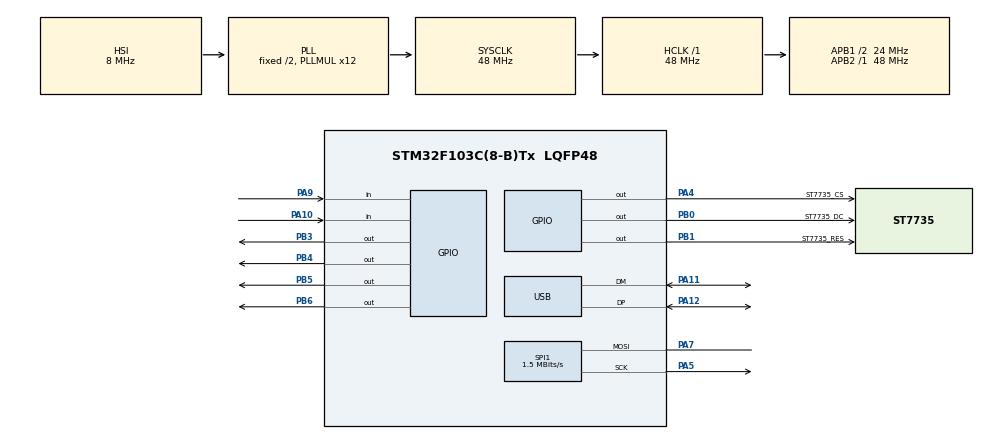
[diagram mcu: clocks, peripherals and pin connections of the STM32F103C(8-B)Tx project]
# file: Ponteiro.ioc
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Mcu.Family=STM32F1
Mcu.Name=STM32F103C(8-B)Tx
Mcu.Package=LQFP48
NVIC.PriorityGroup=NVIC_PRIORITYGROUP_4
NVIC.USB_LP_CAN1_RX0_IRQn=true\:0\:0\:false\:false\:true\:false\:true
PA10.GPIO_PuPd=GPIO_PULLUP
PA10.Signal=GPIO_Input
PA11.Mode=Device
PA11.Signal=USB_DM
PA12.Mode=Device
PA12.Signal=USB_DP
PA13.Mode=Serial_Wire
PA13.Signal=SYS_JTMS-SWDIO
PA14.Mode=Serial_Wire
PA14.Signal=SYS_JTCK-SWCLK
PA4.GPIO_Label=ST7735_CS
PA4.Signal=GPIO_Output
PA5.Mode=Simplex_Bidirectional_Master
PA5.Signal=SPI1_SCK
PA7.Mode=Simplex_Bidirectional_Master
PA7.Signal=SPI1_MOSI
PA9.GPIO_PuPd=GPIO_PULLUP
PA9.Signal=GPIO_Input
PB0.GPIO_Label=ST7735_DC
PB0.Signal=GPIO_Output
PB1.GPIO_Label=ST7735_RES
PB1.Signal=GPIO_Output
PB3.Signal=GPIO_Output
PB4.Signal=GPIO_Output
PB5.Signal=GPIO_Output
PB6.Signal=GPIO_Output
ProjectManager.HeapSize=0x200
ProjectManager.StackSize=0x400
ProjectManager.TargetToolchain=STM32CubeIDE
RCC.AHBFreq_Value=48000000
RCC.APB1CLKDivider=RCC_HCLK_DIV2
RCC.APB1Freq_Value=24000000
RCC.APB1TimFreq_Value=48000000
RCC.APB2Freq_Value=48000000
RCC.APB2TimFreq_Value=48000000
RCC.HCLKFreq_Value=48000000
RCC.PLLMUL=RCC_PLL_MUL12
RCC.PLLSourceVirtualString=RCC_PLLSOURCE_HSI_DIV2
RCC.SYSCLKFreq_VALUE=48000000
RCC.SYSCLKSource=RCC_SYSCLKSOURCE_PLLCLK
RCC.USBFreq_Value=48000000
SPI1.BaudRatePrescaler=SPI_BAUDRATEPRESCALER_32
SPI1.CLKPolarity=SPI_POLARITY_LOW
SPI1.CalculateBaudRate=1.5 MBits/s
SPI1.Direction=SPI_DIRECTION_1LINE
SPI1.Mode=SPI_MODE_MASTER
SPI1.VirtualType=VM_MASTER
USB_DEVICE.CLASS_NAME_FS=CDC
USB_DEVICE.VirtualMode=Cdc
USB_DEVICE.VirtualModeFS=Cdc_FS
VP_USB_DEVICE_VS_USB_DEVICE_CDC_FS.Mode=CDC_FS
board=custom

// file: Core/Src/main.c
/* USER CODE BEGIN Header */
/**
  ******************************************************************************
  * @file           : main.c
  * @brief          : Main program body
  ******************************************************************************
  * @attention
  *
  * <h2><center>&copy; Copyright (c) 2024 STMicroelectronics.
  * All rights reserved.</center></h2>
  *
  * This software component is licensed by ST under BSD 3-Clause license,
  * the "License"; You may not use this file except in compliance with the
  * License. You may obtain a copy of the License at:
  *                        opensource.org/licenses/BSD-3-Clause
  *
  ******************************************************************************
  */
/* USER CODE END Header */
#include "main.h"
#include "stdint.h"
#include "usb_device.h"
#include "usbd_cdc_if.h"

/* USER CODE BEGIN Includes */
#include "ST7735/st7735.h"
/* USER CODE END Includes */

/* USER CODE BEGIN PD */
#define GREY 0x8080
/* USER CODE END PD */

SPI_HandleTypeDef hspi1;

/* USER CODE BEGIN PV */
char Recived;
uint8_t Received;
char nome[30];

typedef struct Retangulo
{
	uint8_t x;
	uint8_t y;
	uint8_t w;
	uint8_t h;
	uint16_t color;

}Retangulo;

typedef struct Bandeira
{
	uint8_t draw;

	Retangulo rec1;
	Retangulo rec2;
	Retangulo rec3;
	Retangulo rec4;

}Bandeira;

Bandeira Japao;
Bandeira Italia;
Bandeira Alemanha;

void DrawFlag(Bandeira *pais);
/* USER CODE END PV */

void SystemClock_Config(void);
static void MX_GPIO_Init(void);
static void MX_SPI1_Init(void);

int main(void)
{

  /* MCU Configuration--------------------------------------------------------*/

  /* Reset of all peripherals, Initializes the Flash interface and the Systick. */
  HAL_Init();

  /* Configure the system clock */
  SystemClock_Config();

  /* Initialize all configured peripherals */
  MX_GPIO_Init();
  MX_SPI1_Init();
  MX_USB_DEVICE_Init();
  /* USER CODE BEGIN 2 */

#ifdef ST7735
  ST7735_Init();
#elif ST7789
  ST7789_Init();
#endif

  Japao.draw = 0;
  Japao.rec1.x = 43; Japao.rec1.y = 5; Japao.rec1.w = 70; Japao.rec1.h = 40; Japao.rec1.color = WHITE;
  Japao.rec2.x = 67; Japao.rec2.y = 20; Japao.rec2.w = 22; Japao.rec2.h = 10; Japao.rec2.color = RED;
  Japao.rec3.x = 71; Japao.rec3.y = 15; Japao.rec3.w = 14; Japao.rec3.h = 20; Japao.rec3.color = RED;
  Japao.rec4.x = 69; Japao.rec4.y = 17; Japao.rec4.w = 18; Japao.rec4.h = 16; Japao.rec4.color = RED;

  Italia.draw = 0;
  Italia.rec1.x = 43; Italia.rec1.y = 5; Italia.rec1.w = 70; Italia.rec1.h = 40; Italia.rec1.color = WHITE;
  Italia.rec2.x = 43; Italia.rec2.y = 5; Italia.rec2.w = 23; Italia.rec2.h = 40; Italia.rec2.color = GREEN;
  Italia.rec3.x = 90; Italia.rec3.y = 5; Italia.rec3.w = 23; Italia.rec3.h = 40; Italia.rec3.color = RED;
  Italia.rec4.x = 0; Italia.rec4.y = 0; Italia.rec4.w = 0; Italia.rec4.h = 0; Italia.rec4.color = BLACK;

  Alemanha.draw = 0;
  Alemanha.rec1.x = 43; Alemanha.rec1.y = 5; Alemanha.rec1.w = 70; Alemanha.rec1.h = 13; Alemanha.rec1.color = BLACK;
  Alemanha.rec2.x = 43; Alemanha.rec2.y = 17; Alemanha.rec2.w = 70; Alemanha.rec2.h = 13; Alemanha.rec2.color = RED;
  Alemanha.rec3.x = 43; Alemanha.rec3.y = 29; Alemanha.rec3.w = 70; Alemanha.rec3.h = 13; Alemanha.rec3.color = YELLOW;
  Alemanha.rec4.x = 0; Alemanha.rec4.y = 0; Alemanha.rec4.w = 0; Alemanha.rec4.h = 0; Alemanha.rec4.color = BLACK;

  Bandeira bandeiras[3] = {Japao,Italia,Alemanha};
  ST7735_FillScreen(BLACK);
  /* USER CODE END 2 */

  /* Infinite loop */
  /* USER CODE BEGIN WHILE */
  while (1)
  {
	  if(Received){
		  ST7735_FillScreen(GREY);
		  ST7735_WriteString(10, 50, nome, Font_7x10 , WHITE, GREY);

		  if (strcmp(nome, "Oda") == 0) DrawFlag(&bandeiras[0]);
		  if (strcmp(nome, "Mario") == 0) DrawFlag(&bandeiras[1]);
		  if (strcmp(nome, "Enzo") == 0) DrawFlag(&bandeiras[2]);

		  Received = 0;
		  HAL_Delay(1000);
	  }
    /* USER CODE END WHILE */

  }
}

void SystemClock_Config(void)
{
  RCC_OscInitTypeDef RCC_OscInitStruct = {0};
  RCC_ClkInitTypeDef RCC_ClkInitStruct = {0};
  RCC_PeriphCLKInitTypeDef PeriphClkInit = {0};

  /** Initializes the RCC Oscillators according to the specified parameters
  * in the RCC_OscInitTypeDef structure.
  */
  RCC_OscInitStruct.OscillatorType = RCC_OSCILLATORTYPE_HSI;
  RCC_OscInitStruct.HSIState = RCC_HSI_ON;
  RCC_OscInitStruct.HSICalibrationValue = RCC_HSICALIBRATION_DEFAULT;
  RCC_OscInitStruct.PLL.PLLState = RCC_PLL_ON;
  RCC_OscInitStruct.PLL.PLLSource = RCC_PLLSOURCE_HSI_DIV2;
  RCC_OscInitStruct.PLL.PLLMUL = RCC_PLL_MUL12;
  if (HAL_RCC_OscConfig(&RCC_OscInitStruct) != HAL_OK)
  {
    Error_Handler();
  }
  /** Initializes the CPU, AHB and APB buses clocks
  */
  RCC_ClkInitStruct.ClockType = RCC_CLOCKTYPE_HCLK|RCC_CLOCKTYPE_SYSCLK
                              |RCC_CLOCKTYPE_PCLK1|RCC_CLOCKTYPE_PCLK2;
  RCC_ClkInitStruct.SYSCLKSource = RCC_SYSCLKSOURCE_PLLCLK;
  RCC_ClkInitStruct.AHBCLKDivider = RCC_SYSCLK_DIV1;
  RCC_ClkInitStruct.APB1CLKDivider = RCC_HCLK_DIV2;
  RCC_ClkInitStruct.APB2CLKDivider = RCC_HCLK_DIV1;

  if (HAL_RCC_ClockConfig(&RCC_ClkInitStruct, FLASH_LATENCY_1) != HAL_OK)
  {
    Error_Handler();
  }
  PeriphClkInit.PeriphClockSelection = RCC_PERIPHCLK_USB;
  PeriphClkInit.UsbClockSelection = RCC_USBCLKSOURCE_PLL;
  if (HAL_RCCEx_PeriphCLKConfig(&PeriphClkInit) != HAL_OK)
  {
    Error_Handler();
  }
}

static void MX_SPI1_Init(void)
{

  /* SPI1 parameter configuration*/
  hspi1.Instance = SPI1;
  hspi1.Init.Mode = SPI_MODE_MASTER;
  hspi1.Init.Direction = SPI_DIRECTION_1LINE;
  hspi1.Init.DataSize = SPI_DATASIZE_8BIT;
  hspi1.Init.CLKPolarity = SPI_POLARITY_LOW;
  hspi1.Init.CLKPhase = SPI_PHASE_1EDGE;
  hspi1.Init.NSS = SPI_NSS_SOFT;
  hspi1.Init.BaudRatePrescaler = SPI_BAUDRATEPRESCALER_32;
  hspi1.Init.FirstBit = SPI_FIRSTBIT_MSB;
  hspi1.Init.TIMode = SPI_TIMODE_DISABLE;
  hspi1.Init.CRCCalculation = SPI_CRCCALCULATION_DISABLE;
  hspi1.Init.CRCPolynomial = 10;
  if (HAL_SPI_Init(&hspi1) != HAL_OK)
  {
    Error_Handler();
  }

}
static void MX_GPIO_Init(void)
{
  GPIO_InitTypeDef GPIO_InitStruct = {0};

  /* GPIO Ports Clock Enable */
  __HAL_RCC_GPIOA_CLK_ENABLE();
  __HAL_RCC_GPIOB_CLK_ENABLE();

  /*Configure GPIO pin Output Level */
  HAL_GPIO_WritePin(ST7735_CS_GPIO_Port, ST7735_CS_Pin, GPIO_PIN_RESET);

  /*Configure GPIO pin Output Level */
  HAL_GPIO_WritePin(GPIOB, ST7735_DC_Pin|ST7735_RES_Pin|GPIO_PIN_3|GPIO_PIN_4
                          |GPIO_PIN_5|GPIO_PIN_6, GPIO_PIN_RESET);

  /*Configure GPIO pin : ST7735_CS_Pin */
  GPIO_InitStruct.Pin = ST7735_CS_Pin;
  GPIO_InitStruct.Mode = GPIO_MODE_OUTPUT_PP;
  GPIO_InitStruct.Pull = GPIO_NOPULL;
  GPIO_InitStruct.Speed = GPIO_SPEED_FREQ_LOW;
  HAL_GPIO_Init(ST7735_CS_GPIO_Port, &GPIO_InitStruct);

  /*Configure GPIO pins : ST7735_DC_Pin ST7735_RES_Pin PB3 PB4
                           PB5 PB6 */
  GPIO_InitStruct.Pin = ST7735_DC_Pin|ST7735_RES_Pin|GPIO_PIN_3|GPIO_PIN_4
                          |GPIO_PIN_5|GPIO_PIN_6;
  GPIO_InitStruct.Mode = GPIO_MODE_OUTPUT_PP;
  GPIO_InitStruct.Pull = GPIO_NOPULL;
  GPIO_InitStruct.Speed = GPIO_SPEED_FREQ_LOW;
  HAL_GPIO_Init(GPIOB, &GPIO_InitStruct);

  /*Configure GPIO pins : PA9 PA10 */
  GPIO_InitStruct.Pin = GPIO_PIN_9|GPIO_PIN_10;
  GPIO_InitStruct.Mode = GPIO_MODE_INPUT;
  GPIO_InitStruct.Pull = GPIO_PULLUP;
  HAL_GPIO_Init(GPIOA, &GPIO_InitStruct);

}

/* USER CODE BEGIN 4 */

void DrawFlag(Bandeira* pais)
{
	if (pais->draw != 1){
		pais->draw = 1;
		ST7735_FillRectangle(pais->rec1.x, pais->rec1.y, pais->rec1.w, pais->rec1.h, pais->rec1.color);
		ST7735_FillRectangle(pais->rec2.x, pais->rec2.y, pais->rec2.w, pais->rec2.h, pais->rec2.color);
		ST7735_FillRectangle(pais->rec3.x, pais->rec3.y, pais->rec3.w, pais->rec3.h, pais->rec3.color);
		ST7735_FillRectangle(pais->rec4.x, pais->rec4.y, pais->rec4.w, pais->rec4.h, pais->rec4.color);
	}
}
/* USER CODE END 4 */

void Error_Handler(void)
{
  __disable_irq();
  while (1)
  {
  }
}

/************************ (C) COPYRIGHT STMicroelectronics *****END OF FILE****/
